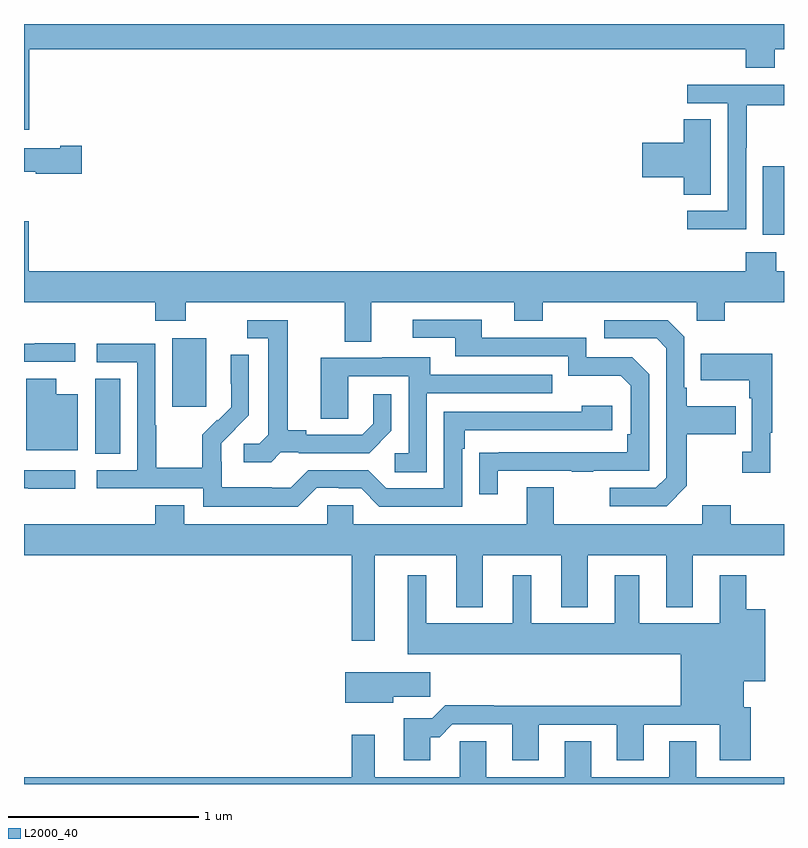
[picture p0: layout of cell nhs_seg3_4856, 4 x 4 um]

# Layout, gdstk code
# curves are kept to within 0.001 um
import gdstk
lib = gdstk.Library(unit=1e-6, precision=1e-09)
def R(c, l, rs):  # rectangles x0, y0, x1, y1
    for r in rs: c.add(gdstk.rectangle(r[:2], r[2:], *l))
def P(c, l, *ps):  # polygons
    for p in ps: c.add(gdstk.Polygon(p, *l))
L2000_40 = (2000, 40)

nhs_seg3_4856 = lib.new_cell('nhs_seg3_4856')
R(nhs_seg3_4856, L2000_40, [(373.376,680.137,373.507,680.534), (373.781,680.385,373.96,680.746), (376.889,681.29,377,681.651)])
P(nhs_seg3_4856, L2000_40, [(373.028,682.268),(376.799,682.268),(376.799,682.169),(376.951,682.169),(376.951,682.268),(377,682.268),(377,682.4),(373,682.4),(373,681.843),(373.028,681.843)],
  [(376.8,681.748),(376.803,681.748),(376.803,681.972),(377,681.972),(377,682.08),(376.491,682.08),(376.491,681.984),(376.704,681.984),(376.704,681.417),(376.491,681.417),(376.491,681.319),(376.8,681.319)],
  [(376.615,681.899),(376.472,681.899),(376.472,681.776),(376.254,681.776),(376.254,681.593),(376.472,681.593),(376.472,681.502),(376.615,681.502)],
  [(373.303,681.758),(373.19,681.758),(373.19,681.745),(373,681.745),(373,681.623),(373.062,681.623),(373.062,681.611),(373.303,681.611)],
  [(374.827,680.936),(375.581,680.936),(375.581,680.837),(375.729,680.837),(375.729,680.936),(376.542,680.936),(376.542,680.837),(376.689,680.837),(376.689,680.936),(377,680.936),(377,681.1),(376.959,681.1),(376.959,681.199),(376.799,681.199),(376.799,681.1),(373.025,681.1),(373.025,681.361),(373,681.361),(373,680.936),(373.691,680.936),(373.691,680.837),(373.851,680.837),(373.851,680.936),(374.687,680.936),(374.687,680.728),(374.827,680.728)],
  [(375.493,680.049),(375.883,680.049),(375.883,680.044),(375.995,680.044),(375.995,680.049),(376.29,680.049),(376.29,680.556),(376.2,680.646),(375.96,680.646),(375.96,680.748),(375.409,680.748),(375.409,680.844),(375.045,680.844),(375.045,680.748),(375.269,680.748),(375.269,680.652),(375.864,680.652),(375.864,680.549),(376.141,680.549),(376.194,680.496),(376.194,680.242),(376.174,680.242),(376.174,680.145),(375.397,680.144),(375.397,679.926),(375.493,679.926)],
  [(374.352,680.145),(374.446,680.145),(374.446,680.142),(374.818,680.142),(374.934,680.258),(374.934,680.452),(374.837,680.452),(374.837,680.295),(374.78,680.238),(374.485,680.238),(374.485,680.261),(374.389,680.261),(374.389,680.841),(374.175,680.841),(374.175,680.745),(374.285,680.745),(374.285,680.237),(374.238,680.19),(374.157,680.19),(374.157,680.093),(374.3,680.093)],
  [(376.489,679.969),(376.489,680.242),(376.745,680.242),(376.745,680.389),(376.489,680.389),(376.489,680.485),(376.476,680.485),(376.476,680.754),(376.389,680.841),(376.053,680.841),(376.053,680.745),(376.329,680.745),(376.38,680.694),(376.38,680.013),(376.326,679.959),(376.083,679.959),(376.083,679.863),(376.383,679.863)],
  [(373.27,680.72),(373.057,680.72),(373.057,680.718),(373,680.718),(373,680.622),(373.27,680.622)],
  [(374.541,679.959),(374.657,679.959),(374.657,679.956),(374.775,679.956),(374.871,679.86),(375.306,679.86),(375.306,680.165),(375.319,680.165),(375.319,680.262),(376.096,680.262),(376.096,680.392),(375.935,680.392),(375.935,680.358),(375.21,680.358),(375.21,679.956),(374.907,679.956),(374.811,680.052),(374.496,680.052),(374.403,679.959),(374.303,679.959),(374.303,679.963),(374.04,679.963),(374.04,680.097),(374.038,680.097),(374.038,680.194),(374.184,680.342),(374.184,680.66),(374.088,680.66),(374.088,680.506),(374.09,680.506),(374.09,680.384),(374.019,680.313),(374.016,680.316),(373.939,680.239),(373.939,680.065),(373.695,680.065),(373.695,680.288),(373.692,680.288),(373.692,680.718),(373.383,680.718),(373.383,680.619),(373.596,680.619),(373.596,680.052),(373.383,680.052),(373.383,679.956),(373.944,679.956),(373.944,679.859),(374.441,679.859)],
  [(376.927,680.249),(376.939,680.249),(376.939,680.665),(376.561,680.665),(376.561,680.525),(376.818,680.525),(376.818,680.429),(376.83,680.429),(376.83,680.15),(376.779,680.15),(376.779,680.037),(376.927,680.037)],
  [(375.12,680.457),(375.779,680.457),(375.779,680.553),(375.139,680.553),(375.139,680.647),(374.885,680.647),(374.885,680.643),(374.561,680.643),(374.561,680.323),(374.706,680.323),(374.706,680.547),(375.024,680.547),(375.024,680.142),(374.952,680.142),(374.952,680.041),(375.12,680.041)],
  [(373.282,680.452),(373.171,680.452),(373.171,680.533),(373.013,680.533),(373.013,680.156),(373.282,680.156)],
  [(373.27,680.052),(373,680.052),(373,679.956),(373.023,679.956),(373.023,679.955),(373.27,679.955)],
  [(374.845,679.604),(375.275,679.604),(375.275,679.331),(375.415,679.331),(375.415,679.604),(375.827,679.604),(375.827,679.331),(375.967,679.331),(375.967,679.604),(376.379,679.604),(376.379,679.331),(376.519,679.331),(376.519,679.604),(377,679.604),(377,679.768),(376.719,679.768),(376.719,679.867),(376.571,679.867),(376.571,679.768),(375.787,679.768),(375.787,679.963),(375.647,679.963),(375.647,679.768),(374.733,679.768),(374.733,679.866),(374.595,679.866),(374.595,679.768),(373.843,679.768),(373.843,679.867),(373.691,679.867),(373.691,679.768),(373,679.768),(373,679.604),(374.724,679.604),(374.724,679.155),(374.845,679.155)],
  [(375.139,678.647),(375.188,678.647),(375.255,678.714),(375.569,678.714),(375.569,678.525),(375.709,678.525),(375.709,678.711),(376.121,678.711),(376.121,678.525),(376.261,678.525),(376.261,678.711),(376.661,678.711),(376.661,678.525),(376.826,678.525),(376.826,678.804),(376.789,678.804),(376.789,678.941),(376.9,678.941),(376.9,679.321),(376.802,679.321),(376.802,679.498),(376.661,679.498),(376.661,679.246),(376.237,679.246),(376.237,679.498),(376.109,679.498),(376.109,679.246),(375.67,679.246),(375.67,679.498),(375.572,679.498),(375.572,679.246),(375.118,679.246),(375.118,679.498),(375.02,679.498),(375.02,679.082),(376.457,679.082),(376.457,678.812),(375.473,678.812),(375.473,678.815),(375.218,678.815),(375.148,678.745),(374.999,678.745),(374.999,678.525),(375.139,678.525)],
  [(374.944,678.859),(375.139,678.859),(375.139,678.988),(374.69,678.988),(374.69,678.827),(374.944,678.827)],
  [(377,678.436),(376.537,678.436),(376.537,678.626),(376.397,678.626),(376.397,678.436),(375.985,678.436),(375.985,678.626),(375.845,678.626),(375.845,678.436),(375.433,678.436),(375.433,678.626),(375.294,678.626),(375.294,678.436),(374.845,678.436),(374.845,678.658),(374.724,678.658),(374.724,678.436),(373,678.436),(373,678.4),(377,678.4)])

lib.write_gds('nhs_seg3_4856.gds')
